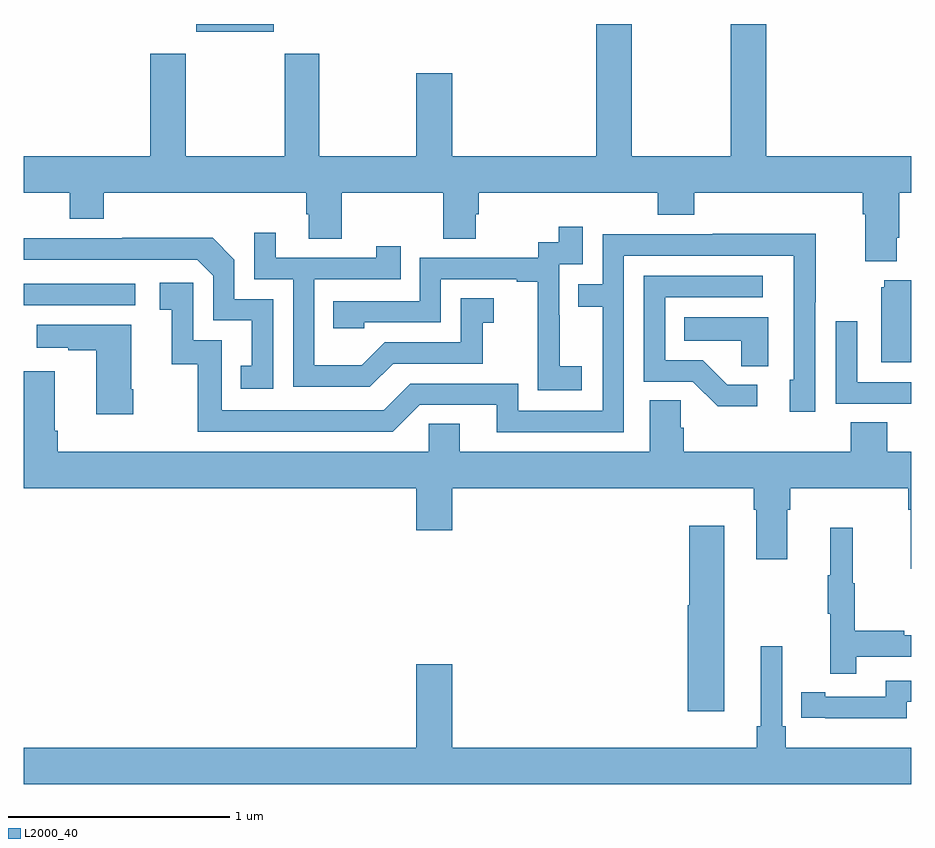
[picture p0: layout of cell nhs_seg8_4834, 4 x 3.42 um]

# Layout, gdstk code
import gdstk
lib = gdstk.Library(unit=1e-6, precision=1e-09)
def R(c, l, rs):  # rectangles x0, y0, x1, y1
    for r in rs: c.add(gdstk.rectangle(r[:2], r[2:], *l))
def P(c, l, *ps):  # polygons
    for p in ps: c.add(gdstk.Polygon(p, *l))
L2000_40 = (2000, 40)

nhs_seg8_4834 = lib.new_cell('nhs_seg8_4834')
R(nhs_seg8_4834, L2000_40, [(403,1142.634,403.504,1142.73), (403.778,1143.866,404.128,1143.9)])
P(nhs_seg8_4834, L2000_40, [(406.933,1142.938),(406.946,1142.938),(406.946,1143.14),(407,1143.14),(407,1143.304),(406.346,1143.304),(406.346,1143.9),(406.186,1143.9),(406.186,1143.304),(405.741,1143.304),(405.741,1143.9),(405.581,1143.9),(405.581,1143.304),(404.932,1143.304),(404.932,1143.679),(404.768,1143.679),(404.768,1143.304),(404.331,1143.304),(404.331,1143.766),(404.176,1143.766),(404.176,1143.304),(403.731,1143.304),(403.731,1143.766),(403.571,1143.766),(403.571,1143.304),(403,1143.304),(403,1143.14),(403.208,1143.14),(403.208,1143.023),(403.361,1143.023),(403.361,1143.14),(404.273,1143.14),(404.273,1143.042),(404.285,1143.042),(404.285,1142.932),(404.433,1142.932),(404.433,1143.14),(404.89,1143.14),(404.89,1142.932),(405.037,1142.932),(405.037,1143.042),(405.05,1143.042),(405.05,1143.14),(405.857,1143.14),(405.857,1143.041),(406.022,1143.041),(406.022,1143.14),(406.781,1143.14),(406.781,1143.044),(406.793,1143.044),(406.793,1142.831),(406.933,1142.831)],
  [(405.514,1142.359),(405.416,1142.359),(405.416,1142.588),(405.414,1142.588),(405.414,1142.817),(405.519,1142.817),(405.519,1142.986),(405.411,1142.986),(405.411,1142.916),(405.318,1142.916),(405.318,1142.847),(404.784,1142.847),(404.784,1142.652),(404.395,1142.652),(404.395,1142.529),(404.535,1142.529),(404.535,1142.556),(404.88,1142.556),(404.88,1142.751),(405.221,1142.751),(405.221,1142.739),(405.317,1142.739),(405.317,1142.455),(405.316,1142.455),(405.316,1142.249),(405.514,1142.249)],
  [(404.665,1142.37),(405.069,1142.37),(405.069,1142.555),(405.118,1142.555),(405.118,1142.665),(404.97,1142.665),(404.97,1142.466),(404.628,1142.466),(404.524,1142.362),(404.31,1142.362),(404.31,1142.751),(404.699,1142.751),(404.699,1142.899),(404.588,1142.899),(404.588,1142.847),(404.137,1142.847),(404.137,1142.959),(404.04,1142.959),(404.04,1142.751),(404.214,1142.751),(404.214,1142.265),(404.56,1142.265)],
  [(405.705,1142.856),(406.47,1142.856),(406.47,1142.298),(406.451,1142.298),(406.451,1142.154),(406.566,1142.154),(406.566,1142.647),(406.569,1142.647),(406.569,1142.954),(406.105,1142.954),(406.105,1142.952),(405.609,1142.952),(405.609,1142.727),(405.499,1142.727),(405.499,1142.626),(405.609,1142.626),(405.609,1142.157),(405.228,1142.157),(405.228,1142.28),(404.742,1142.28),(404.622,1142.16),(403.893,1142.16),(403.893,1142.475),(403.764,1142.475),(403.764,1142.734),(403.614,1142.734),(403.614,1142.613),(403.667,1142.613),(403.667,1142.367),(403.785,1142.367),(403.785,1142.064),(404.664,1142.064),(404.784,1142.184),(405.131,1142.184),(405.131,1142.061),(405.705,1142.061)],
  [(404.124,1142.661),(403.95,1142.661),(403.95,1142.838),(403.852,1142.936),(403.444,1142.936),(403.444,1142.934),(403,1142.934),(403,1142.838),(403.782,1142.838),(403.854,1142.766),(403.854,1142.565),(404.027,1142.565),(404.027,1142.361),(403.978,1142.361),(403.978,1142.256),(404.124,1142.256)],
  [(406.306,1142.274),(406.171,1142.274),(406.06,1142.385),(405.891,1142.385),(405.891,1142.67),(406.33,1142.67),(406.33,1142.766),(405.795,1142.766),(405.795,1142.289),(406.014,1142.289),(406.127,1142.177),(406.306,1142.177)],
  [(407,1142.746),(406.877,1142.746),(406.877,1142.715),(406.865,1142.715),(406.865,1142.375),(407,1142.375)],
  [(406.354,1142.578),(405.976,1142.578),(405.976,1142.474),(406.233,1142.474),(406.233,1142.359),(406.354,1142.359)],
  [(407,1142.286),(406.755,1142.286),(406.755,1142.56),(406.659,1142.56),(406.659,1142.19),(406.975,1142.19),(406.975,1142.189),(407,1142.189)],
  [(403.494,1142.254),(403.486,1142.254),(403.486,1142.545),(403.059,1142.545),(403.059,1142.441),(403.202,1142.441),(403.202,1142.431),(403.328,1142.431),(403.328,1142.142),(403.494,1142.142)],
  [(405.974,1142.081),(405.96,1142.081),(405.96,1142.204),(405.821,1142.204),(405.821,1141.972),(404.965,1141.972),(404.965,1142.099),(404.826,1142.099),(404.826,1141.972),(403.154,1141.972),(403.154,1142.068),(403.141,1142.068),(403.141,1142.335),(403.001,1142.335),(403.001,1142.068),(403,1142.068),(403,1141.808),(404.768,1141.808),(404.768,1141.62),(404.932,1141.62),(404.932,1141.808),(406.289,1141.808),(406.289,1141.712),(406.301,1141.712),(406.301,1141.488),(406.441,1141.488),(406.441,1141.712),(406.454,1141.712),(406.454,1141.808),(406.985,1141.808),(406.985,1141.712),(406.997,1141.712),(406.997,1141.446),(407,1141.446),(407,1141.972),(406.892,1141.972),(406.892,1142.105),(406.727,1142.105),(406.727,1141.972),(405.974,1141.972)],
  [(406.156,1141.639),(405.998,1141.639),(405.998,1141.281),(405.992,1141.281),(405.992,1140.804),(406.156,1140.804)],
  [(406.751,1141.05),(407,1141.05),(407,1141.146),(406.967,1141.146),(406.967,1141.166),(406.744,1141.166),(406.744,1141.38),(406.736,1141.38),(406.736,1141.63),(406.634,1141.63),(406.634,1141.417),(406.623,1141.417),(406.623,1141.243),(406.634,1141.243),(406.634,1140.972),(406.751,1140.972)],
  [(407,1140.64),(406.433,1140.64),(406.433,1140.736),(406.419,1140.736),(406.419,1141.096),(406.322,1141.096),(406.322,1140.736),(406.303,1140.736),(406.303,1140.64),(404.932,1140.64),(404.932,1141.015),(404.768,1141.015),(404.768,1140.64),(403,1140.64),(403,1140.476),(407,1140.476)],
  [(406.98,1140.846),(407,1140.846),(407,1140.942),(406.884,1140.942),(406.884,1140.87),(406.612,1140.87),(406.612,1140.89),(406.504,1140.89),(406.504,1140.774),(406.612,1140.774),(406.612,1140.773),(406.98,1140.773)])

lib.write_gds('nhs_seg8_4834.gds')
